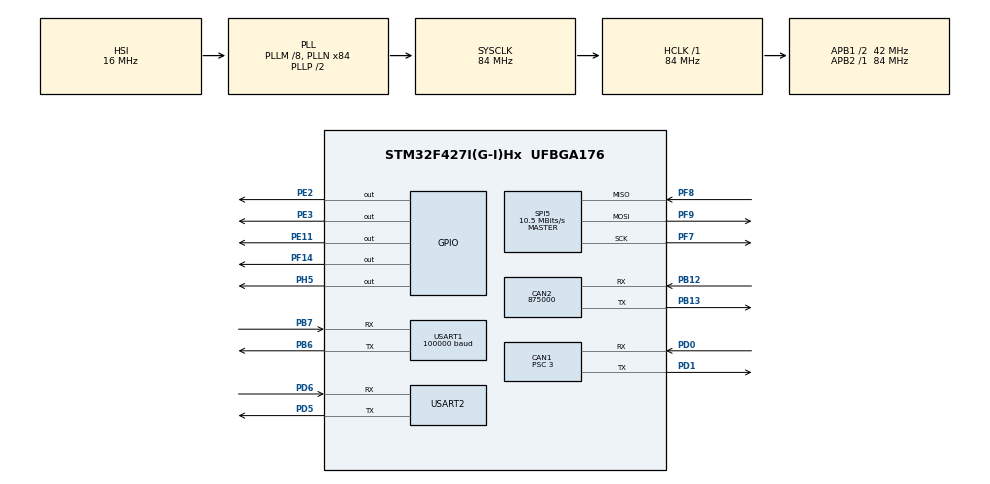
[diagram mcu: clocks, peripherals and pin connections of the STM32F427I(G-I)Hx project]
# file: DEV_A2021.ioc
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CAN1.BS1=CAN_BS1_10TQ
CAN1.BS2=CAN_BS2_3TQ
CAN1.CalculateBaudRate=1000000
CAN1.CalculateTimeBit=999.99
CAN1.CalculateTimeQuantum=71.42857142857143
CAN1.Mode=CAN_MODE_NORMAL
CAN1.Prescaler=3
CAN1.SJW=CAN_SJW_4TQ
CAN2.CalculateBaudRate=875000
CAN2.CalculateTimeBit=1142.85
CAN2.CalculateTimeQuantum=380.95238095238096
Dma.Request0=USART1_RX
Dma.Request1=USART2_RX
Dma.Request2=USART2_TX
Dma.USART1_RX.0.Direction=DMA_PERIPH_TO_MEMORY
Dma.USART1_RX.0.FIFOMode=DMA_FIFOMODE_DISABLE
Dma.USART1_RX.0.Instance=DMA2_Stream2
Dma.USART1_RX.0.MemDataAlignment=DMA_MDATAALIGN_BYTE
Dma.USART1_RX.0.MemInc=DMA_MINC_ENABLE
Dma.USART1_RX.0.Mode=DMA_CIRCULAR
Dma.USART1_RX.0.PeriphDataAlignment=DMA_PDATAALIGN_BYTE
Dma.USART1_RX.0.PeriphInc=DMA_PINC_DISABLE
Dma.USART1_RX.0.Priority=DMA_PRIORITY_LOW
Dma.USART2_RX.1.Direction=DMA_PERIPH_TO_MEMORY
Dma.USART2_RX.1.FIFOMode=DMA_FIFOMODE_DISABLE
Dma.USART2_RX.1.Instance=DMA1_Stream5
Dma.USART2_RX.1.MemDataAlignment=DMA_MDATAALIGN_BYTE
Dma.USART2_RX.1.MemInc=DMA_MINC_ENABLE
Dma.USART2_RX.1.Mode=DMA_NORMAL
Dma.USART2_RX.1.PeriphDataAlignment=DMA_PDATAALIGN_BYTE
Dma.USART2_RX.1.PeriphInc=DMA_PINC_DISABLE
Dma.USART2_RX.1.Priority=DMA_PRIORITY_LOW
Dma.USART2_TX.2.Direction=DMA_MEMORY_TO_PERIPH
Dma.USART2_TX.2.FIFOMode=DMA_FIFOMODE_DISABLE
Dma.USART2_TX.2.Instance=DMA1_Stream6
Dma.USART2_TX.2.MemDataAlignment=DMA_MDATAALIGN_BYTE
Dma.USART2_TX.2.MemInc=DMA_MINC_ENABLE
Dma.USART2_TX.2.Mode=DMA_NORMAL
Dma.USART2_TX.2.PeriphDataAlignment=DMA_PDATAALIGN_BYTE
Dma.USART2_TX.2.PeriphInc=DMA_PINC_DISABLE
Dma.USART2_TX.2.Priority=DMA_PRIORITY_LOW
FREERTOS.Tasks01=TestTask,0,256,StartDefaultTask,As weak,NULL,Dynamic,NULL,NULL
Mcu.Family=STM32F4
Mcu.Name=STM32F427I(G-I)Hx
Mcu.Package=UFBGA176
NVIC.CAN1_RX0_IRQn=true\:5\:0\:false\:false\:true\:true\:true\:true
NVIC.DMA1_Stream5_IRQn=true\:5\:0\:false\:false\:true\:true\:false\:true
NVIC.DMA1_Stream6_IRQn=true\:5\:0\:false\:false\:true\:true\:false\:true
NVIC.DMA2_Stream2_IRQn=true\:5\:0\:false\:false\:true\:true\:false\:true
NVIC.PriorityGroup=NVIC_PRIORITYGROUP_4
NVIC.TIM1_UP_TIM10_IRQn=true\:0\:0\:false\:false\:true\:false\:false\:true
NVIC.TimeBase=TIM1_UP_TIM10_IRQn
NVIC.TimeBaseIP=TIM1
NVIC.USART1_IRQn=true\:5\:0\:false\:false\:true\:true\:true\:true
NVIC.USART2_IRQn=true\:5\:0\:false\:false\:true\:true\:true\:true
PB12.Mode=CAN_Activate
PB12.Signal=CAN2_RX
PB13.Mode=CAN_Activate
PB13.Signal=CAN2_TX
PB6.Mode=Asynchronous
PB6.Signal=USART1_TX
PB7.Mode=Asynchronous
PB7.Signal=USART1_RX
PD0.Mode=CAN_Activate
PD0.Signal=CAN1_RX
PD1.Mode=CAN_Activate
PD1.Signal=CAN1_TX
PD5.Mode=Asynchronous
PD5.Signal=USART2_TX
PD6.Mode=Asynchronous
PD6.Signal=USART2_RX
PE11.GPIO_Speed=GPIO_SPEED_FREQ_MEDIUM
PE11.PinState=GPIO_PIN_SET
PE11.Signal=GPIO_Output
PE2.Signal=GPIO_Output
PE3.Signal=GPIO_Output
PF14.GPIO_Speed=GPIO_SPEED_FREQ_MEDIUM
PF14.PinState=GPIO_PIN_SET
PF14.Signal=GPIO_Output
PF7.Mode=Full_Duplex_Master
PF7.Signal=SPI5_SCK
PF8.Mode=Full_Duplex_Master
PF8.Signal=SPI5_MISO
PF9.Mode=Full_Duplex_Master
PF9.Signal=SPI5_MOSI
PH0/OSC_IN.Mode=HSE-External-Oscillator
PH0/OSC_IN.Signal=RCC_OSC_IN
PH1/OSC_OUT.Mode=HSE-External-Oscillator
PH1/OSC_OUT.Signal=RCC_OSC_OUT
PH5.Signal=GPIO_Output
ProjectManager.HeapSize=0x200
ProjectManager.StackSize=0x400
ProjectManager.TargetToolchain=MDK-ARM V5.27
RCC.48MHZClocksFreq_Value=42000000
RCC.AHBFreq_Value=84000000
RCC.APB1CLKDivider=RCC_HCLK_DIV2
RCC.APB1Freq_Value=42000000
RCC.APB1TimFreq_Value=84000000
RCC.APB2Freq_Value=84000000
RCC.APB2TimFreq_Value=84000000
RCC.CortexFreq_Value=84000000
RCC.HCLKFreq_Value=84000000
RCC.HSE_VALUE=25000000
RCC.HSI_VALUE=16000000
RCC.LSE_VALUE=32768
RCC.PLLM=8
RCC.PLLN=84
RCC.SYSCLKFreq_VALUE=84000000
RCC.SYSCLKSource=RCC_SYSCLKSOURCE_PLLCLK
RCC.VCOOutputFreq_Value=168000000
SPI5.BaudRatePrescaler=SPI_BAUDRATEPRESCALER_8
SPI5.CLKPhase=SPI_PHASE_2EDGE
SPI5.CLKPolarity=SPI_POLARITY_HIGH
SPI5.CalculateBaudRate=10.5 MBits/s
SPI5.Direction=SPI_DIRECTION_2LINES
SPI5.Mode=SPI_MODE_MASTER
SPI5.VirtualType=VM_MASTER
USART1.BaudRate=100000
USART1.VirtualMode=VM_ASYNC
USART2.VirtualMode=VM_ASYNC
VP_FREERTOS_VS_CMSIS_V1.Mode=CMSIS_V1
VP_SYS_VS_tim1.Mode=TIM1
board=custom

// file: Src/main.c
/* USER CODE BEGIN Header */
/**
  ******************************************************************************
  * @file           : main.c
  * @brief          : Main program body
  ******************************************************************************
  * @attention
  *
  * <h2><center>&copy; Copyright (c) 2021 STMicroelectronics.
  * All rights reserved.</center></h2>
  *
  * This software component is licensed by ST under Ultimate Liberty license
  * SLA0044, the "License"; You may not use this file except in compliance with
  * the License. You may obtain a copy of the License at:
  *                             www.st.com/SLA0044
  *
  ******************************************************************************
  */
/* USER CODE END Header */
#include "main.h"
#include "cmsis_os.h"
#include "can.h"
#include "dma.h"
#include "spi.h"
#include "usart.h"
#include "gpio.h"

/* USER CODE BEGIN Includes */

#include <stdio.h>
#include <stdarg.h>
#include "string.h"
#include "bsp_can.h"
#include "remote_control.h"
#include "bsp_usart.h"

/* USER CODE END Includes */

/* USER CODE BEGIN PV */

//串口打印函数重定义
#ifdef __GNUC__
#define PUTCHAR_PROTOTYPE int __io_putchar(int ch)
#else
#define PUTCHAR_PROTOTYPE int fputc(int ch, FILE *f)
#endif
PUTCHAR_PROTOTYPE
{
HAL_UART_Transmit(&huart2 , (uint8_t *)&ch, 1, 0xFFFF);
return ch;
}

/* USER CODE END PV */

void SystemClock_Config(void);
void MX_FREERTOS_Init(void);

int main(void)
{

  /* MCU Configuration--------------------------------------------------------*/

  /* Reset of all peripherals, Initializes the Flash interface and the Systick. */
  HAL_Init();

  /* Configure the system clock */
  SystemClock_Config();

  /* Initialize all configured peripherals */
  MX_GPIO_Init();
  MX_DMA_Init();
  MX_USART2_UART_Init();
  MX_CAN1_Init();
  MX_CAN2_Init();
  MX_USART1_UART_Init();
  MX_SPI5_Init();
  /* USER CODE BEGIN 2 */

    can_filter_init();
    remote_control_init();
    usart2_tx_dma_init();
    //local_rc_ctrl = get_remote_control_point();

  /* USER CODE END 2 */

  /* Call init function for freertos objects (in freertos.c) */
  MX_FREERTOS_Init();
  /* Start scheduler */
  osKernelStart();

  /* We should never get here as control is now taken by the scheduler */
  /* Infinite loop */
  while (1)
  {

  }
}

void SystemClock_Config(void)
{
  RCC_OscInitTypeDef RCC_OscInitStruct = {0};
  RCC_ClkInitTypeDef RCC_ClkInitStruct = {0};

  /** Configure the main internal regulator output voltage
  */
  __HAL_RCC_PWR_CLK_ENABLE();
  __HAL_PWR_VOLTAGESCALING_CONFIG(PWR_REGULATOR_VOLTAGE_SCALE3);
  /** Initializes the RCC Oscillators according to the specified parameters
  * in the RCC_OscInitTypeDef structure.
  */
  RCC_OscInitStruct.OscillatorType = RCC_OSCILLATORTYPE_HSI;
  RCC_OscInitStruct.HSIState = RCC_HSI_ON;
  RCC_OscInitStruct.HSICalibrationValue = RCC_HSICALIBRATION_DEFAULT;
  RCC_OscInitStruct.PLL.PLLState = RCC_PLL_ON;
  RCC_OscInitStruct.PLL.PLLSource = RCC_PLLSOURCE_HSI;
  RCC_OscInitStruct.PLL.PLLM = 8;
  RCC_OscInitStruct.PLL.PLLN = 84;
  RCC_OscInitStruct.PLL.PLLP = RCC_PLLP_DIV2;
  RCC_OscInitStruct.PLL.PLLQ = 4;
  if (HAL_RCC_OscConfig(&RCC_OscInitStruct) != HAL_OK)
  {
    Error_Handler();
  }
  /** Initializes the CPU, AHB and APB buses clocks
  */
  RCC_ClkInitStruct.ClockType = RCC_CLOCKTYPE_HCLK|RCC_CLOCKTYPE_SYSCLK
                              |RCC_CLOCKTYPE_PCLK1|RCC_CLOCKTYPE_PCLK2;
  RCC_ClkInitStruct.SYSCLKSource = RCC_SYSCLKSOURCE_PLLCLK;
  RCC_ClkInitStruct.AHBCLKDivider = RCC_SYSCLK_DIV1;
  RCC_ClkInitStruct.APB1CLKDivider = RCC_HCLK_DIV2;
  RCC_ClkInitStruct.APB2CLKDivider = RCC_HCLK_DIV1;

  if (HAL_RCC_ClockConfig(&RCC_ClkInitStruct, FLASH_LATENCY_2) != HAL_OK)
  {
    Error_Handler();
  }
}

 /**
  * @brief  Period elapsed callback in non blocking mode
  * @note   This function is called  when TIM1 interrupt took place, inside
  * HAL_TIM_IRQHandler(). It makes a direct call to HAL_IncTick() to increment
  * a global variable "uwTick" used as application time base.
  * @param  htim : TIM handle
  * @retval None
  */
void HAL_TIM_PeriodElapsedCallback(TIM_HandleTypeDef *htim)
{
  if (htim->Instance == TIM1) {
    HAL_IncTick();
  }
}

void Error_Handler(void)
{
}

/************************ (C) COPYRIGHT STMicroelectronics *****END OF FILE****/

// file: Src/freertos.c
/* USER CODE BEGIN Header */
/**
  ******************************************************************************
  * File Name          : freertos.c
  * Description        : Code for freertos applications
  ******************************************************************************
  * @attention
  *
  * <h2><center>&copy; Copyright (c) 2021 STMicroelectronics.
  * All rights reserved.</center></h2>
  *
  * This software component is licensed by ST under Ultimate Liberty license
  * SLA0044, the "License"; You may not use this file except in compliance with
  * the License. You may obtain a copy of the License at:
  *                             www.st.com/SLA0044
  *
  ******************************************************************************
  */
/* USER CODE END Header */

#include "FreeRTOS.h"
#include "task.h"
#include "main.h"
#include "cmsis_os.h"

osThreadId TestTaskHandle;

void StartDefaultTask(void const * argument);

void MX_FREERTOS_Init(void); /* (MISRA C 2004 rule 8.1) */

/* GetIdleTaskMemory prototype (linked to static allocation support) */
void vApplicationGetIdleTaskMemory( StaticTask_t **ppxIdleTaskTCBBuffer, StackType_t **ppxIdleTaskStackBuffer, uint32_t *pulIdleTaskStackSize );

/* USER CODE BEGIN GET_IDLE_TASK_MEMORY */
static StaticTask_t xIdleTaskTCBBuffer;
static StackType_t xIdleStack[configMINIMAL_STACK_SIZE];

void vApplicationGetIdleTaskMemory( StaticTask_t **ppxIdleTaskTCBBuffer, StackType_t **ppxIdleTaskStackBuffer, uint32_t *pulIdleTaskStackSize )
{
  *ppxIdleTaskTCBBuffer = &xIdleTaskTCBBuffer;
  *ppxIdleTaskStackBuffer = &xIdleStack[0];
  *pulIdleTaskStackSize = configMINIMAL_STACK_SIZE;
  /* place for user code */
}
/* USER CODE END GET_IDLE_TASK_MEMORY */

void MX_FREERTOS_Init(void) {

  /* Create the thread(s) */
  /* definition and creation of TestTask */
  osThreadDef(TestTask, StartDefaultTask, osPriorityNormal, 0, 256);
  TestTaskHandle = osThreadCreate(osThread(TestTask), NULL);

}

__weak void StartDefaultTask(void const * argument)
{
  for(;;)
  {
    osDelay(1);
  }
}

/************************ (C) COPYRIGHT STMicroelectronics *****END OF FILE****/
